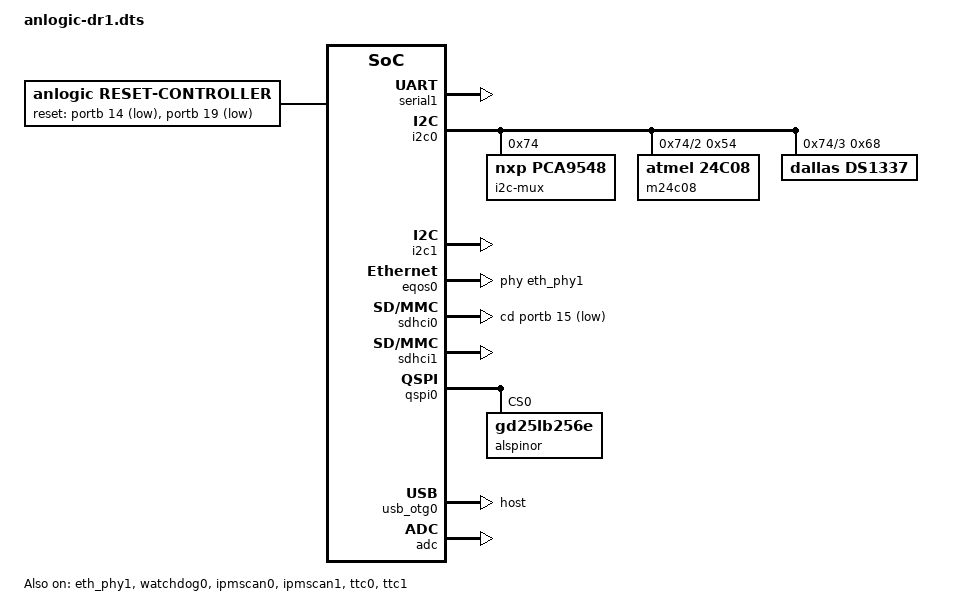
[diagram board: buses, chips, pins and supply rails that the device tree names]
// SPDX-License-Identifier: (GPL-2.0+ OR MIT)

/dts-v1/;
#include "anlogic-dr1m90.dts"
#include "anlogic-dr1m90-softip.dts"

&cma {
	alloc-ranges = <0x0 0x00000000 0x0 0x1fffffff>;
	size = <0x0 0x8000000>;
};

&memory {
	reg = <0 0x00000000 0 0x40000000>;
};

&soc {

	leds {
		compatible = "gpio-leds";
		led1: led1 {
			gpios = <&portb 19 GPIO_ACTIVE_HIGH>;
			linux,default-trigger = "heartbeat";
			status = "disabled";
		};
	};

	keys {
		compatible = "gpio-keys";
		sw1: sw1 {
			gpios = <&portb 18 GPIO_ACTIVE_LOW>;
			linux,code = <108>;
			status = "disabled";
		};
	};

	reset: reset-controller {
		compatible = "anlogic,reset-controller";
		#reset-cells = <1>;
		reset-gpios = <&portb 14 GPIO_ACTIVE_LOW>, <&portb 19 GPIO_ACTIVE_LOW>;
		reset-delays = <10>, <10>;
		reset-post-delays = <0>, <100>;
	};
};

&serial0 {
	status = "disabled";
};

&serial1 {
	status = "okay";
};

&i2c0 {
	status = "okay";

	i2c-mux@74 {
		compatible = "nxp,pca9548";
		#address-cells = <1>;
		#size-cells = <0>;
		reg = <0x74>;
		status = "okay";

		i2c@2 {
			#address-cells = <1>;
			#size-cells = <0>;
			reg = <2>;
			/*
			 * IIC_EEPROM 1kB memory which uses 256B blocks
			 * where every block has different address.
			 *    0 - 256B address 0x54
			 * 256B - 512B address 0x55
			 * 512B - 768B address 0x56
			 * 768B - 1024B address 0x57
			 */
			m24c08: eeprom@54 {
				compatible = "atmel,24c08";
				reg = <0x54>;
				pagesize = <16>;
				address-width = <8>;
				status = "okay";
			};
		};

		i2c@3 {
			#address-cells = <1>;
			#size-cells = <0>;
			reg = <3>;
			ds1337: rtc@68 {
				compatible = "dallas,ds1337";
				reg = <0x68>;
				trickle-resistor-ohms = <250>;
				status = "okay";
			};
		};

	};
};

&i2c1 {
	status = "okay";
};

&gpio0 {
	status = "okay";
};

&gpio1 {
	status = "okay";
};

&gpio2 {
	status = "okay";
};

&gpio3 {
	status = "okay";
};

&eqos0 {
	phy-handle = <&eth_phy1>;
	resets = <&reset 1>;
	reset-names = "stmmaceth";
	status = "okay";
};

&eth_phy0 {
	/* Realtek RTL8211F (0x001cc916) */
	status = "disabled";
};

&eth_phy1 {
	/* Motorcomm YT8531 (0x4f51e91b) */
	status = "okay";
};

&eqos1 {
	phy-handle = <&eth_phy3>;
	status = "disabled";
};

&eth_phy2 {
	/* Realtek RTL8211F (0x001cc916) */
	status = "disabled";
};

&eth_phy3 {
	/* Motorcomm YT8531 (0x4f51e91b) */
	status = "disabled";
};

&axidmac {
	status = "okay";
};

&watchdog0 {
	status = "okay";
};

&ipmscan0 {
	status = "okay";
};

&ipmscan1 {
	status = "okay";
};

&sdhci0 {
	status = "okay";
	cd-gpios=<&portb 15 GPIO_ACTIVE_LOW>;
};

&sdhci1 {
	status = "okay";
	//cd-gpios=<&porta 9 GPIO_ACTIVE_LOW>;
};

&ahb_dma {
	status = "okay";
};

&qspi0 {
	u-boot,dm-pre-reloc; 
	rx-sample-delay-ns = <1>;
	status = "okay";

	flash0: flash@0 {
		compatible = "gd25lb256e","jedec,spi-nor";
		label = "alspinor";
		reg = <0x0>;
		spi-tx-bus-width = <4>;
		spi-rx-bus-width = <4>;
		spi-max-frequency = <AL_QSPI_MAX_FREQUENCY>;
	};
};

&spi0 {
	status = "disabled";
};

&spi1 {
	status = "disabled";
};

&ttc0 {
	status = "okay";
};

&ttc1 {
	status = "okay";
};

&usb_otg0 {
	status = "okay";
	dr_mode = "host"; 
	resets = <&reset 0>;
	reset-names = "dwc2";
};

&adc {
	status = "okay";
};



